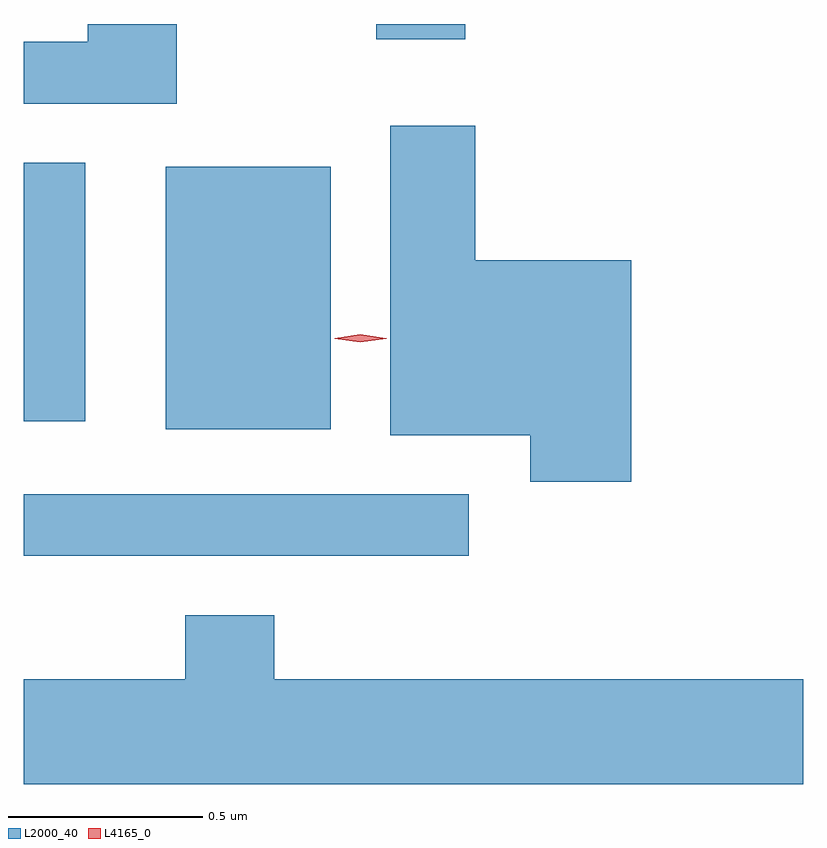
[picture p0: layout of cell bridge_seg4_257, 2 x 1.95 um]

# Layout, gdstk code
import gdstk
lib = gdstk.Library(unit=1e-6, precision=1e-09)
def R(c, l, rs):  # rectangles x0, y0, x1, y1
    for r in rs: c.add(gdstk.rectangle(r[:2], r[2:], *l))
def P(c, l, *ps):  # polygons
    for p in ps: c.add(gdstk.Polygon(p, *l))
L2000_40 = (2000, 40)
L4165_0 = (4165, 0)

bridge_seg4_257 = lib.new_cell('bridge_seg4_257')
R(bridge_seg4_257, L2000_40, [(679.056,1353.041,680.198,1353.199), (679.421,1353.366,679.844,1354.039), (679.056,1353.386,679.214,1354.049), (679.961,1354.366,680.189,1354.405)])
P(bridge_seg4_257, L2000_40, [(679.449,1354.405),(679.221,1354.405),(679.221,1354.359),(679.056,1354.359),(679.056,1354.201),(679.449,1354.201)],
  [(680.614,1353.799),(680.214,1353.799),(680.214,1354.144),(679.996,1354.144),(679.996,1353.351),(680.356,1353.351),(680.356,1353.231),(680.614,1353.231)],
  [(681.056,1352.724),(679.699,1352.724),(679.699,1352.889),(679.471,1352.889),(679.471,1352.724),(679.056,1352.724),(679.056,1352.456),(681.056,1352.456)])
P(bridge_seg4_257, L4165_0, [(679.92,1353.589),(679.854,1353.598),(679.854,1353.599),(679.854,1353.599),(679.92,1353.609),(679.986,1353.599),(679.987,1353.599),(679.986,1353.598)])

lib.write_gds('bridge_seg4_257.gds')
